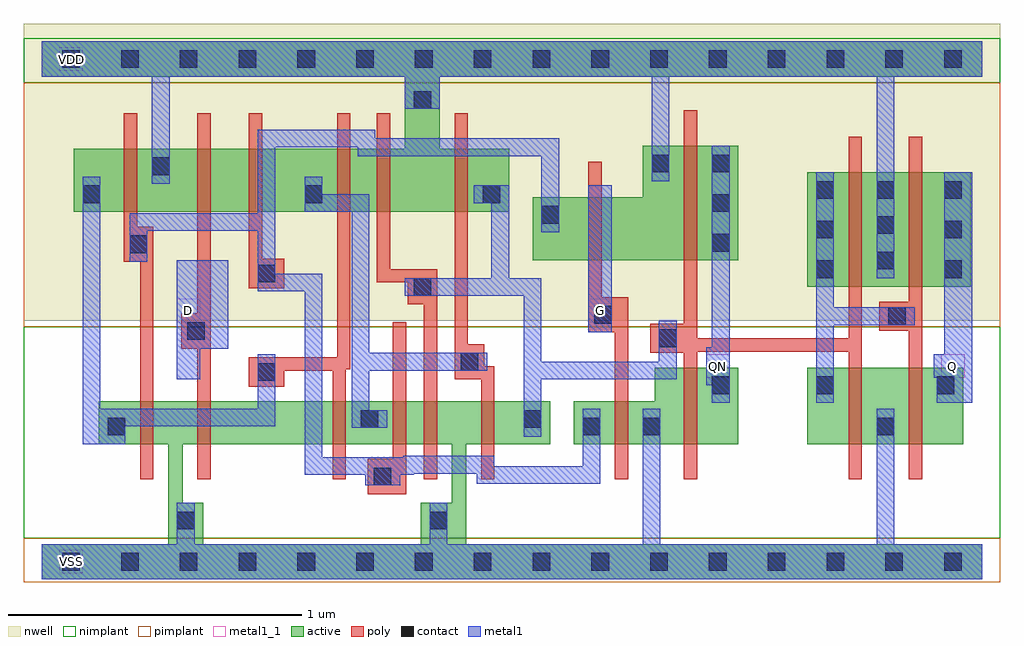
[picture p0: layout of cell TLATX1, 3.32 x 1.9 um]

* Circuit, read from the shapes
.subckt TLATX1 D G Q QN VDD VSS
M1 VSS n1 n2 VSS nfet w=0.145u l=0.045u
M2 n3 D VSS VSS nfet w=0.145u l=0.045u
M3 n4 n2 n3 VSS nfet w=0.145u l=0.045u
M4 n5 n1 n4 VSS nfet w=0.145u l=0.045u
M5 VSS n6 n5 VSS nfet w=0.145u l=0.045u
M6 n6 n4 VSS VSS nfet w=0.145u l=0.045u
M7 VSS G n1 VSS nfet w=0.145u l=0.045u
M8 QN n6 VSS VSS nfet w=0.26u l=0.045u
M9 VSS n6 n7 VSS nfet w=0.26u l=0.045u
M10 Q n7 VSS VSS nfet w=0.26u l=0.045u
M11 VDD n1 n2 VDD pfet w=0.215u l=0.045u
M12 n8 D VDD VDD pfet w=0.215u l=0.045u
M13 n4 n1 n8 VDD pfet w=0.215u l=0.045u
M14 n9 n2 n4 VDD pfet w=0.215u l=0.045u
M15 VDD n6 n9 VDD pfet w=0.215u l=0.045u
M16 n6 n4 VDD VDD pfet w=0.215u l=0.045u
M17 VDD G n1 VDD pfet w=0.215u l=0.045u
M18 QN n6 VDD VDD pfet w=0.39u l=0.045u
M19 VDD n6 n7 VDD pfet w=0.39u l=0.045u
M20 Q n7 VDD VDD pfet w=0.39u l=0.045u
.ends

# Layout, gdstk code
import gdstk
lib = gdstk.Library(unit=1e-6, precision=5e-10)
def R(c, l, rs):  # rectangles x0, y0, x1, y1
    for r in rs: c.add(gdstk.rectangle(r[:2], r[2:], *l))
def A(c, l, x, y, w, h, nx, ny, dx, dy):  # array of equal rectangles
    R(c, l, [(x+i*dx, y+j*dy, x+i*dx+w, y+j*dy+h) for i in range(nx) for j in range(ny)])
def P(c, l, *ps):  # polygons
    for p in ps: c.add(gdstk.Polygon(p, *l))
active = (1, 0)
nwell = (2, 0)
poly = (3, 0)
nimplant = (4, 0)
pimplant = (5, 0)
contact = (6, 0)
metal1 = (7, 0)
metal1_1 = (7, 1)

tlatx1 = lib.new_cell('TLATX1')
R(tlatx1, active, [(2.605,0.4,3.135,0.66), (2.605,0.935,3.16,1.325)])
P(tlatx1, active, [(0,1.77),(3.2,1.77),(3.2,1.65),(1.355,1.65),(1.355,1.405),(1.59,1.405),(1.59,1.19),(0.11,1.19),(0.11,1.405),(1.235,1.405),(1.235,1.65),(0,1.65)],
  [(2.045,1.415),(2.37,1.415),(2.37,1.025),(1.67,1.025),(1.67,1.24),(2.045,1.24)],
  [(0.195,0.545),(1.73,0.545),(1.73,0.4),(1.445,0.4),(1.445,0.06),(3.2,0.06),(3.2,-0.06),(0,-0.06),(0,0.06),(0.43,0.06),(0.43,0.4),(0.48,0.4),(0.48,0.2),(0.55,0.2),(0.55,0.06),(1.29,0.06),(1.29,0.2),(1.395,0.2),(1.395,0.4),(0.195,0.4)],
  [(2.085,0.66),(2.37,0.66),(2.37,0.4),(1.81,0.4),(1.81,0.545),(2.085,0.545)])
R(tlatx1, nwell, [(-0.06,0.82,3.26,1.83)])
P(tlatx1, poly, [(0.28,1.525),(0.325,1.525),(0.325,1.14),(0.38,1.14),(0.38,0.28),(0.335,0.28),(0.335,1.02),(0.28,1.02)],
  [(0.53,1.525),(0.575,1.525),(0.575,0.28),(0.53,0.28),(0.53,0.725),(0.475,0.725),(0.475,0.845),(0.53,0.845)],
  [(0.705,1.525),(0.75,1.525),(0.75,1.03),(0.825,1.03),(0.825,0.93),(0.705,0.93)],
  [(1.005,1.525),(1.05,1.525),(1.05,0.655),(1.035,0.655),(1.035,0.28),(0.99,0.28),(0.99,0.65),(0.825,0.65),(0.825,0.595),(0.705,0.595),(0.705,0.695),(1.005,0.695)],
  [(1.14,1.525),(1.185,1.525),(1.185,0.995),(1.345,0.995),(1.345,0.28),(1.3,0.28),(1.3,0.875),(1.245,0.875),(1.245,0.95),(1.14,0.95)],
  [(1.405,1.525),(1.45,1.525),(1.45,0.74),(1.505,0.74),(1.505,0.665),(1.54,0.665),(1.54,0.28),(1.495,0.28),(1.495,0.62),(1.405,0.62)],
  [(2.185,1.535),(2.23,1.535),(2.23,0.76),(2.745,0.76),(2.745,1.445),(2.79,1.445),(2.79,0.28),(2.745,0.28),(2.745,0.715),(2.23,0.715),(2.23,0.28),(2.185,0.28),(2.185,0.71),(2.07,0.71),(2.07,0.81),(2.185,0.81)],
  [(1.86,1.36),(1.905,1.36),(1.905,0.9),(1.995,0.9),(1.995,0.28),(1.95,0.28),(1.95,0.78),(1.86,0.78)],
  [(2.95,1.445),(2.995,1.445),(2.995,0.28),(2.95,0.28),(2.95,0.785),(2.85,0.785),(2.85,0.885),(2.95,0.885)],
  [(1.195,0.815),(1.24,0.815),(1.24,0.23),(1.11,0.23),(1.11,0.35),(1.195,0.35)])
R(tlatx1, nimplant, [(-0.06,0.08,3.26,0.8), (-0.06,1.63,3.26,1.78)])
R(tlatx1, pimplant, [(-0.06,-0.07,3.26,0.08), (-0.06,0.8,3.26,1.63)])
A(tlatx1, contact, 0.07, -0.03, 0.06, 0.06, 16, 2, 0.2, 1.71)
A(tlatx1, contact, 2.635, 0.965, 0.06, 0.06, 1, 3, 0, 0.135)
A(tlatx1, contact, 3.07, 0.965, 0.06, 0.06, 1, 3, 0, 0.135)
A(tlatx1, contact, 2.84, 0.995, 0.06, 0.06, 1, 3, 0, 0.12)
A(tlatx1, contact, 2.28, 1.055, 0.06, 0.06, 1, 3, 0, 0.135)
R(tlatx1, contact, [(0.46,0.11,0.52,0.17), (1.32,0.11,1.38,0.17), (1.13,0.26,1.19,0.32), (0.225,0.43,0.285,0.49), (1.84,0.43,1.9,0.49), (2.045,0.43,2.105,0.49), (2.84,0.43,2.9,0.49), (1.085,0.455,1.145,0.515), (1.64,0.455,1.7,0.515), (2.28,0.57,2.34,0.63), (2.635,0.57,2.695,0.63), (3.045,0.57,3.105,0.63), (0.735,0.615,0.795,0.675), (1.425,0.65,1.485,0.71), (2.1,0.73,2.16,0.79), (0.495,0.755,0.555,0.815), (2.88,0.805,2.94,0.865), (1.88,0.81,1.94,0.87), (1.265,0.905,1.325,0.965), (0.735,0.95,0.795,1.01), (0.3,1.05,0.36,1.11), (1.7,1.15,1.76,1.21), (0.14,1.22,0.2,1.28), (0.895,1.22,0.955,1.28), (1.5,1.22,1.56,1.28), (0.375,1.315,0.435,1.375), (2.075,1.325,2.135,1.385), (1.265,1.54,1.325,1.6)])
R(tlatx1, metal1, [(1.86,0.78,1.94,1.28)])
P(tlatx1, metal1, [(0,1.77),(3.2,1.77),(3.2,1.65),(2.9,1.65),(2.9,0.965),(2.84,0.965),(2.84,1.65),(2.135,1.65),(2.135,1.295),(2.075,1.295),(2.075,1.65),(1.355,1.65),(1.355,1.54),(1.235,1.54),(1.235,1.65),(0.435,1.65),(0.435,1.285),(0.375,1.285),(0.375,1.65),(0,1.65)],
  [(0.14,1.31),(0.2,1.31),(0.2,0.52),(0.735,0.52),(0.735,0.705),(0.795,0.705),(0.795,0.46),(0.285,0.46),(0.285,0.4),(0.14,0.4)],
  [(0.735,1.47),(1.135,1.47),(1.135,1.44),(1.76,1.44),(1.76,1.12),(1.7,1.12),(1.7,1.38),(1.075,1.38),(1.075,1.41),(0.795,1.41),(0.795,0.98),(0.955,0.98),(0.955,0.355),(1.23,0.355),(1.23,0.36),(1.54,0.36),(1.54,0.325),(1.84,0.325),(1.84,0.52),(1.9,0.52),(1.9,0.265),(1.48,0.265),(1.48,0.3),(1.265,0.3),(1.265,0.295),(1.22,0.295),(1.22,0.26),(1.1,0.26),(1.1,0.295),(0.895,0.295),(0.895,0.92),(0.735,0.92),(0.735,1.125),(0.36,1.125),(0.36,1.02),(0.3,1.02),(0.3,1.185),(0.735,1.185)],
  [(0.895,1.31),(0.955,1.31),(0.955,1.25),(1.115,1.25),(1.115,0.71),(1.515,0.71),(1.515,0.65),(1.115,0.65),(1.115,0.515),(1.175,0.515),(1.175,0.455),(1.055,0.455),(1.055,1.19),(0.895,1.19)],
  [(1.47,1.28),(1.59,1.28),(1.59,0.965),(1.7,0.965),(1.7,0.68),(2.1,0.68),(2.1,0.82),(2.16,0.82),(2.16,0.62),(1.7,0.62),(1.7,0.425),(1.64,0.425),(1.64,0.905),(1.235,0.905),(1.235,0.965),(1.53,0.965),(1.53,1.22),(1.47,1.22)],
  [(0.46,1.025),(0.635,1.025),(0.635,0.725),(0.54,0.725),(0.54,0.62),(0.46,0.62)],
  [(2.28,1.415),(2.34,1.415),(2.34,0.54),(2.28,0.54),(2.28,0.6),(2.26,0.6),(2.26,0.73),(2.28,0.73)],
  [(2.635,1.325),(2.695,1.325),(2.695,0.865),(2.97,0.865),(2.97,0.805),(2.695,0.805),(2.695,0.54),(2.635,0.54)],
  [(3.07,1.325),(3.165,1.325),(3.165,0.54),(3.045,0.54),(3.045,0.625),(3.035,0.625),(3.035,0.705),(3.07,0.705)],
  [(0.46,0.2),(0.52,0.2),(0.52,0.06),(1.32,0.06),(1.32,0.2),(1.38,0.2),(1.38,0.06),(2.045,0.06),(2.045,0.52),(2.105,0.52),(2.105,0.06),(2.84,0.06),(2.84,0.52),(2.9,0.52),(2.9,0.06),(3.2,0.06),(3.2,-0.06),(0,-0.06),(0,0.06),(0.46,0.06)])
R(tlatx1, metal1_1, [(0.06,-0.04,0.14,0.04), (2.26,0.625,2.34,0.705), (3.06,0.625,3.14,0.705), (0.46,0.815,0.54,0.895), (1.86,0.815,1.94,0.895), (0.06,1.67,0.14,1.75)])
tlatx1.add(gdstk.Label('Q', (3.1,0.665), layer=7, texttype=1))
tlatx1.add(gdstk.Label('QN', (2.3,0.665), layer=7, texttype=1))
tlatx1.add(gdstk.Label('G', (1.9,0.855), layer=7, texttype=1))
tlatx1.add(gdstk.Label('D', (0.5,0.855), layer=7, texttype=1))
tlatx1.add(gdstk.Label('VDD', (0.1,1.71), layer=7, texttype=1))
tlatx1.add(gdstk.Label('VSS', (0.1,0), layer=7, texttype=1))
tlatx1.add(gdstk.Label('TLATX1', (0,0), layer=63, texttype=0))

lib.write_gds('TLATX1.gds')
